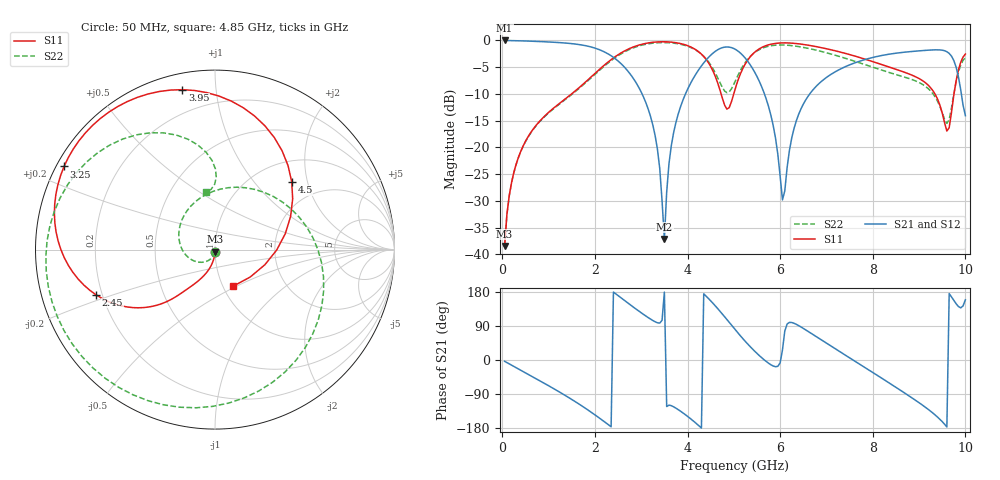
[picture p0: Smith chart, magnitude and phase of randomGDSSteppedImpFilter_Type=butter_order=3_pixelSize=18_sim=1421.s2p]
! freq	dB(S11)	phase(S11)	dB(S12)	phase(S12)
!  dB(S21)	phase(S21)	dB(S22)	phase(S22)
!S-par simulation data
#  GHz  S  DB  R 50
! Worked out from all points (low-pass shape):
!   200 points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, 50 MHz to 10 GHz, reference 50 ohm
!   highest |S21| = -0.01 dB at 50 MHz (marker M1); lowest = -37.2 dB at 3.5 GHz (marker M2)
!   |S21| within 3 dB of the highest: start of sweep to 2.373 GHz; 8.09 GHz to 9.704 GHz (1.614 GHz wide, 18.1 % of centre) (the widest 2 of 3)
!   lowest |S11| = -38.4 dB at 50 MHz (marker M3), VSWR 1.02, Z = 50 - j1.2 ohm
!   |S11| at or under -10 dB: start of sweep to 1.498 GHz; 4.725 GHz to 4.998 GHz (273.4 MHz wide, 5.62 % of centre); 9.342 GHz to 9.754 GHz (412.5 MHz wide, 4.32 % of centre)
!   |S22| runs from -38.5 to -0.4 dB; largest |S21 - S12| = 0
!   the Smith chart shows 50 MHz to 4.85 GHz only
!   S11 on the Smith chart (normalised r, x): 50 MHz: 1.00, -0.02; 2.45 GHz: 0.18, -0.18; 3.25 GHz: 0.02, +0.26; 3.95 GHz: 0.08, +0.81; 4.5 GHz: 1.43, +1.61; 4.85 GHz: 1.12, -0.48
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0.05  -38.44 -90.5  -0.01 -3.4  -0.01 -3.4  -38.49 -93.9
0.45  -19.75 -105.4  -0.09 -30.4  -0.09 -30.4  -19.82 -136.1
1.15  -12.36 -122.8  -0.36 -78.4  -0.36 -78.4  -12.48 144.8
1.75  -8.15 -132.6  -0.90 -123.7  -0.90 -123.7  -8.29 63.6
2.45  -2.97 -159.3  -3.49 174.6  -3.49 174.6  -3.15 -34.2
3.25  -0.35 151.2  -15.81 104.3  -15.81 104.3  -0.51 -130.5
3.4  -0.26 141.3  -23.96 97.4  -23.96 97.4  -0.42 -146.6
3.5  -0.25 134.6  -37.15 179.2  -37.15 179.2  -0.40 -157.0
3.65  -0.32 124.2  -19.67 -120.6  -19.67 -120.6  -0.47 -172.6
3.95  -0.83 101.5  -10.12 -144.0  -10.12 -144.0  -0.94 156.2
4.5  -4.88 41.4  -2.77 156.2  -2.77 156.2  -4.59 99.2
4.85  -12.85 -63.6  -1.22 106.8  -1.22 106.8  -9.79 98.8
5.05  -8.49 -147.6  -1.76 77.0  -1.76 77.0  -7.25 109.6
5.55  -1.57 135.8  -7.66 11.6  -7.66 11.6  -1.72 56.8
6.05  -0.46 93.5  -29.83 26.4  -29.83 26.4  -0.85 -8.4
6.7  -1.03 54.6  -9.34 67.9  -9.34 67.9  -1.66 -87.4
7.45  -2.53 19.9  -4.75 9.5  -4.75 9.5  -3.45 -173.3
8.35  -4.97 -11.8  -2.58 -60.2  -2.58 -60.2  -5.99 76.3
8.95  -6.91 -28.8  -1.99 -108.5  -1.99 -108.5  -7.68 -0.3
9.5  -13.59 -37.0  -1.83 -162.7  -1.83 -162.7  -13.52 -52.9
9.8  -7.55 36.2  -5.01 148.5  -5.01 148.5  -7.73 -19.3
10  -2.55 4.5  -14.07 158.9  -14.07 158.9  -3.24 -65.1
